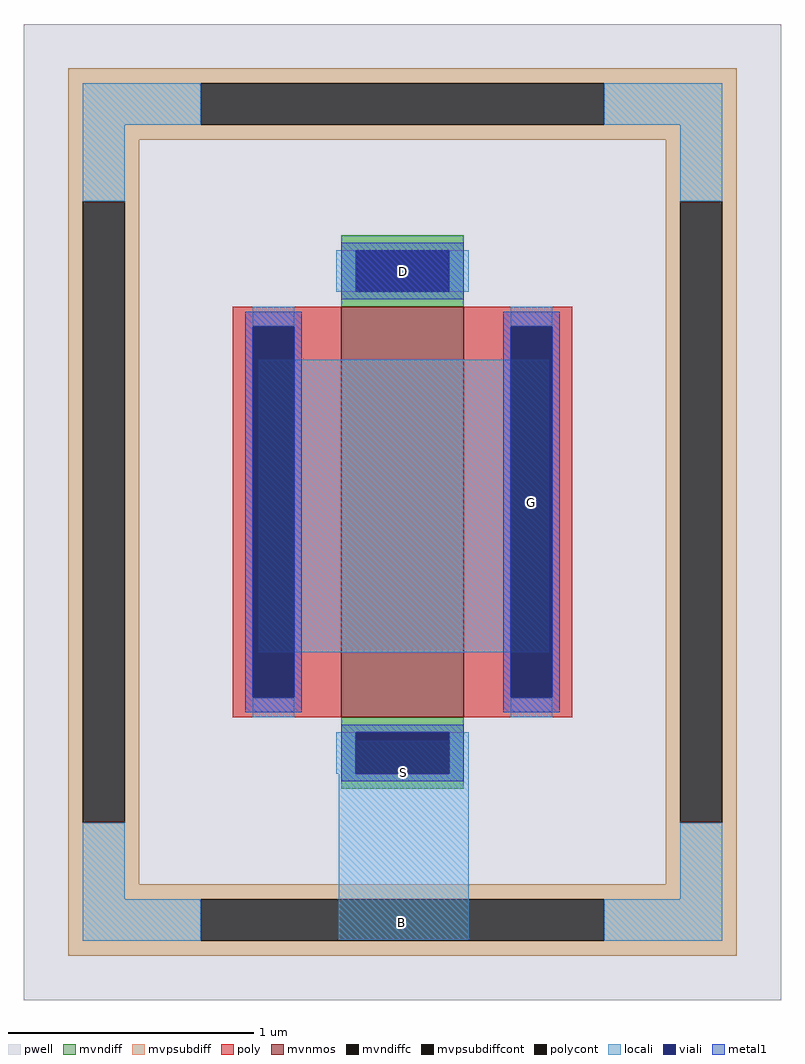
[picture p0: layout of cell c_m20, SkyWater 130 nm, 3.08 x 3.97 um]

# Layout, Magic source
magic
tech sky130A
magscale 1 2
<< locali >>
rect 154 222 390 460
rect 219 -12 325 150
<< metal1 >>
rect 221 514 321 550
use sky130_fd_pr__nfet_g5v0d10v5_5WKV3F  sky130_fd_pr__nfet_g5v0d10v5_5WKV3F_0
transform 0 1 271 -1 0 336
box -397 -308 397 308
<< labels >>
flabel metal1 272 532 272 532 0 FreeSans 800 0 0 0 D
port 0 nsew
flabel locali 376 344 376 344 0 FreeSans 800 0 0 0 G
port 1 nsew
flabel locali 272 124 272 124 0 FreeSans 800 0 0 0 S
port 2 nsew
flabel locali 270 2 270 2 0 FreeSans 800 0 0 0 B
port 3 nsew
<< end >>

# cell sky130_fd_pr__nfet_g5v0d10v5_5WKV3F: kit device sky130_fd_pr__nfet_g5v0d10v5, w 0.5 l 1.67 m 1 nf 1 diffcov 100 polycov 100 guard 1 glc 1 grc 1 gtc 1 gbc 1 tbcov 100 rlcov 100 topc 1 botc 1 poverlap 0 doverlap 1 lmin 0.50 wmin 0.42 class mosfet compatible {sky130_fd_pr__nfet_01v8 sky130_fd_pr__nfet_01v8_lvt sky130_fd_bs_flash__special_sonosfet_star sky130_fd_pr__nfet_g5v0d10v5 sky130_fd_pr__nfet_05v0_nvt sky130_fd_pr__nfet_03v3_nvt} full_metal 1 conn_gates 0 viasrc 100 viadrn 100 viagate 100 viagb 0 viagr 0 viagl 0 viagt 0 doports 1
